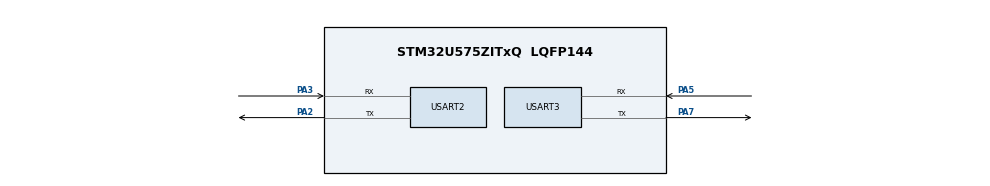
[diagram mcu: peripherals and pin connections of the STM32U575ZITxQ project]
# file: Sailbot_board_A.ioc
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CORTEX_M33_NS.userName=CORTEX_M33
Mcu.Family=STM32U5
Mcu.Name=STM32U575ZITxQ
Mcu.Package=LQFP144
NUCLEO-U575ZI-Q.BUTTON=1
NUCLEO-U575ZI-Q.LD1=true
NUCLEO-U575ZI-Q.LD2=true
NUCLEO-U575ZI-Q.LD3=true
NUCLEO-U575ZI-Q.VCP=true
NVIC.EXTI13_IRQn=true\:0\:0\:false\:false\:true\:false\:true\:true
NVIC.PriorityGroup=NVIC_PRIORITYGROUP_3
NVIC.TIM17_IRQn=true\:7\:0\:false\:false\:true\:false\:true\:true
NVIC.TimeBase=TIM17_IRQn
NVIC.TimeBaseIP=TIM17
NVIC.USART2_IRQn=true\:0\:0\:false\:false\:true\:true\:true\:true
NVIC.USART3_IRQn=true\:0\:0\:false\:false\:true\:true\:true\:true
PA10.Signal=USART1_RX
PA13\ (JTMS/SWDIO).Signal=DEBUG_JTMS-SWDIO
PA14\ (JTCK/SWCLK).Signal=DEBUG_JTCK-SWCLK
PA2.Mode=Asynchronous
PA2.Signal=USART2_TX
PA3.Mode=Asynchronous
PA3.Signal=USART2_RX
PA5.Mode=Asynchronous
PA5.Signal=USART3_RX
PA7.Mode=Asynchronous
PA7.Signal=USART3_TX
PA9.Signal=USART1_TX
PB3\ (JTDO/TRACESWO).Signal=DEBUG_JTDO-SWO
PC14-OSC32_IN\ (PC14).Signal=RCC_OSC32_IN
PC15-OSC32_OUT\ (PC15).Signal=RCC_OSC32_OUT
PWR.PowerMode=PWR_SMPS_SUPPLY
ProjectManager.HeapSize=0x200
ProjectManager.StackSize=0x400
ProjectManager.TargetToolchain=STM32CubeIDE
RCC.ADCFreq_Value=16000000
RCC.DACCLockSelectionVirtual=RCC_DAC1CLKSOURCE_LSI
RCC.EPOD_VALUE=4000000
RCC.HSE_VALUE=16000000
RCC.HSI48_VALUE=48000000
RCC.HSI_VALUE=16000000
RCC.LSE_VALUE=32768
RCC.LSIDIV_VALUE=32000
RCC.MSI_VALUE=4000000
RCC.USBFreq_Value=48000000
RCC.VCOOutputFreq_Value=516000000
USART2.VirtualMode-Asynchronous=VM_ASYNC
USART3.VirtualMode-Asynchronous=VM_ASYNC
VP_ICACHE_VS_ENABLE_ICACHE_MEMORY.Mode=Memoryregions
VP_ICACHE_VS_ICACHE.Mode=DirectMappedCache
VP_LPBAMQUEUE_VS_QUEUE.Mode=QUEUEMODE
VP_LPBAM_VS_SIG1.Mode=SmartRun
VP_LPBAM_VS_SIG4.Mode=LPDMA1
VP_MEMORYMAP_VS_MEMORYMAP.Mode=CurAppReg
VP_NUCLEO-U575ZI-Q_VS_BSP_COMMON.Mode=COMMON
VP_PWR_VS_DBSignals.Mode=DisableDeadBatterySignals
VP_PWR_VS_LPOM.Mode=PowerOptimisation
VP_PWR_VS_SECSignals.Mode=Security/Privilege
VP_SYS_VS_tim17.Mode=TIM17
board=NUCLEO-U575ZI-Q

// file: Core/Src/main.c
/* USER CODE BEGIN Header */
/**
  ******************************************************************************
  * @file           : main.c
  * @brief          : Main program body
  ******************************************************************************
  * @attention
  *
  * Copyright (c) 2026 STMicroelectronics.
  * All rights reserved.
  *
  * This software is licensed under terms that can be found in the LICENSE file
  * in the root directory of this software component.
  * If no LICENSE file comes with this software, it is provided AS-IS.
  *
  ******************************************************************************
  */
/* USER CODE END Header */
#include "main.h"

COM_InitTypeDef BspCOMInit;
//Contact with board 2
UART_HandleTypeDef huart2;
//contact with board 3
UART_HandleTypeDef huart3;

/* USER CODE BEGIN PV */

uint8_t rx_2;
uint8_t rx_3;
uint8_t pc_rx;

volatile uint32_t uart2_count;
volatile uint32_t uart3_count;

volatile uint8_t uart2_last;
volatile uint8_t uart3_last;
//Waiting till I recieve
volatile uint8_t rx2_ready = 0;
volatile uint8_t rx3_ready = 0;

/* USER CODE END PV */

void SystemClock_Config(void);
static void SystemPower_Config(void);
static void MX_GPIO_Init(void);
static void MX_ICACHE_Init(void);
static void MX_USART2_UART_Init(void);
static void MX_USART3_UART_Init(void);

int main(void)
{

  /* MCU Configuration--------------------------------------------------------*/

  /* Reset of all peripherals, Initializes the Flash interface and the Systick. */
  HAL_Init();

  /* Configure the System Power */
  SystemPower_Config();

  /* Configure the system clock */
  SystemClock_Config();

  /* Initialize all configured peripherals */
  MX_GPIO_Init();
  MX_ICACHE_Init();
  MX_USART2_UART_Init();
  MX_USART3_UART_Init();
  /* USER CODE BEGIN 2 */
//Waits to recieve a message from either of the boards
  HAL_UART_Receive_IT(&huart2, &rx_2, 1);
  HAL_UART_Receive_IT(&huart3, &rx_3, 1);

  /* USER CODE END 2 */

  /* Initialize leds */
  BSP_LED_Init(LED_GREEN);
  BSP_LED_Init(LED_BLUE);
  BSP_LED_Init(LED_RED);

  /* Initialize USER push-button, will be used to trigger an interrupt each time it's pressed.*/
  BSP_PB_Init(BUTTON_USER, BUTTON_MODE_EXTI);

  /* Initialize COM1 port (115200, 8 bits (7-bit data + 1 stop bit), no parity */
  BspCOMInit.BaudRate   = 115200;
  BspCOMInit.WordLength = COM_WORDLENGTH_8B;
  BspCOMInit.StopBits   = COM_STOPBITS_1;
  BspCOMInit.Parity     = COM_PARITY_NONE;
  BspCOMInit.HwFlowCtl  = COM_HWCONTROL_NONE;
  if (BSP_COM_Init(COM1, &BspCOMInit) != BSP_ERROR_NONE)
  {
    Error_Handler();
  }

  /* Infinite loop */
  while (1)
  {
    /* USER CODE BEGIN 3 */
	 if(rx2_ready)
	 {
		  rx2_ready = 0;
		  uint8_t data = uart2_last;

		  HAL_UART_Transmit(&hcom_uart[COM1], &data, 1, 100);
	 }

	 if(rx3_ready)
	 {
		  rx2_ready = 0;
		  uint8_t data = uart3_last;

		  HAL_UART_Transmit(&hcom_uart[COM1], &data, 1, 100);
	 }

  }
  /* USER CODE END 3 */
}

void SystemClock_Config(void)
{
  RCC_OscInitTypeDef RCC_OscInitStruct = {0};
  RCC_ClkInitTypeDef RCC_ClkInitStruct = {0};

  /** Configure the main internal regulator output voltage
  */
  if (HAL_PWREx_ControlVoltageScaling(PWR_REGULATOR_VOLTAGE_SCALE4) != HAL_OK)
  {
    Error_Handler();
  }

  /** Initializes the CPU, AHB and APB buses clocks
  */
  RCC_OscInitStruct.OscillatorType = RCC_OSCILLATORTYPE_MSI;
  RCC_OscInitStruct.MSIState = RCC_MSI_ON;
  RCC_OscInitStruct.MSICalibrationValue = RCC_MSICALIBRATION_DEFAULT;
  RCC_OscInitStruct.MSIClockRange = RCC_MSIRANGE_4;
  RCC_OscInitStruct.PLL.PLLState = RCC_PLL_NONE;
  if (HAL_RCC_OscConfig(&RCC_OscInitStruct) != HAL_OK)
  {
    Error_Handler();
  }

  /** Initializes the CPU, AHB and APB buses clocks
  */
  RCC_ClkInitStruct.ClockType = RCC_CLOCKTYPE_HCLK|RCC_CLOCKTYPE_SYSCLK
                              |RCC_CLOCKTYPE_PCLK1|RCC_CLOCKTYPE_PCLK2
                              |RCC_CLOCKTYPE_PCLK3;
  RCC_ClkInitStruct.SYSCLKSource = RCC_SYSCLKSOURCE_MSI;
  RCC_ClkInitStruct.AHBCLKDivider = RCC_SYSCLK_DIV1;
  RCC_ClkInitStruct.APB1CLKDivider = RCC_HCLK_DIV1;
  RCC_ClkInitStruct.APB2CLKDivider = RCC_HCLK_DIV1;
  RCC_ClkInitStruct.APB3CLKDivider = RCC_HCLK_DIV1;

  if (HAL_RCC_ClockConfig(&RCC_ClkInitStruct, FLASH_LATENCY_0) != HAL_OK)
  {
    Error_Handler();
  }
}

/**
  * @brief Power Configuration
  * @retval None
  */
static void SystemPower_Config(void)
{

  /*
   * Disable the internal Pull-Up in Dead Battery pins of UCPD peripheral
   */
  HAL_PWREx_DisableUCPDDeadBattery();

  /*
   * Switch to SMPS regulator instead of LDO
   */
  if (HAL_PWREx_ConfigSupply(PWR_SMPS_SUPPLY) != HAL_OK)
  {
    Error_Handler();
  }
}

static void MX_ICACHE_Init(void)
{

  /** Enable instruction cache in 1-way (direct mapped cache)
  */
  if (HAL_ICACHE_ConfigAssociativityMode(ICACHE_1WAY) != HAL_OK)
  {
    Error_Handler();
  }
  if (HAL_ICACHE_Enable() != HAL_OK)
  {
    Error_Handler();
  }

}

static void MX_USART2_UART_Init(void)
{

  huart2.Instance = USART2;
  huart2.Init.BaudRate = 115200;
  huart2.Init.WordLength = UART_WORDLENGTH_8B;
  huart2.Init.StopBits = UART_STOPBITS_1;
  huart2.Init.Parity = UART_PARITY_NONE;
  huart2.Init.Mode = UART_MODE_TX_RX;
  huart2.Init.HwFlowCtl = UART_HWCONTROL_NONE;
  huart2.Init.OverSampling = UART_OVERSAMPLING_16;
  huart2.Init.OneBitSampling = UART_ONE_BIT_SAMPLE_DISABLE;
  huart2.Init.ClockPrescaler = UART_PRESCALER_DIV1;
  huart2.AdvancedInit.AdvFeatureInit = UART_ADVFEATURE_NO_INIT;
  if (HAL_UART_Init(&huart2) != HAL_OK)
  {
    Error_Handler();
  }
  if (HAL_UARTEx_SetTxFifoThreshold(&huart2, UART_TXFIFO_THRESHOLD_1_8) != HAL_OK)
  {
    Error_Handler();
  }
  if (HAL_UARTEx_SetRxFifoThreshold(&huart2, UART_RXFIFO_THRESHOLD_1_8) != HAL_OK)
  {
    Error_Handler();
  }
  if (HAL_UARTEx_DisableFifoMode(&huart2) != HAL_OK)
  {
    Error_Handler();
  }

}

static void MX_USART3_UART_Init(void)
{

  huart3.Instance = USART3;
  huart3.Init.BaudRate = 115200;
  huart3.Init.WordLength = UART_WORDLENGTH_8B;
  huart3.Init.StopBits = UART_STOPBITS_1;
  huart3.Init.Parity = UART_PARITY_NONE;
  huart3.Init.Mode = UART_MODE_TX_RX;
  huart3.Init.HwFlowCtl = UART_HWCONTROL_NONE;
  huart3.Init.OverSampling = UART_OVERSAMPLING_16;
  huart3.Init.OneBitSampling = UART_ONE_BIT_SAMPLE_DISABLE;
  huart3.Init.ClockPrescaler = UART_PRESCALER_DIV1;
  huart3.AdvancedInit.AdvFeatureInit = UART_ADVFEATURE_NO_INIT;
  if (HAL_UART_Init(&huart3) != HAL_OK)
  {
    Error_Handler();
  }
  if (HAL_UARTEx_SetTxFifoThreshold(&huart3, UART_TXFIFO_THRESHOLD_1_8) != HAL_OK)
  {
    Error_Handler();
  }
  if (HAL_UARTEx_SetRxFifoThreshold(&huart3, UART_RXFIFO_THRESHOLD_1_8) != HAL_OK)
  {
    Error_Handler();
  }
  if (HAL_UARTEx_DisableFifoMode(&huart3) != HAL_OK)
  {
    Error_Handler();
  }

}

static void MX_GPIO_Init(void)
{

  /* GPIO Ports Clock Enable */
  __HAL_RCC_GPIOC_CLK_ENABLE();
  __HAL_RCC_GPIOA_CLK_ENABLE();
  __HAL_RCC_GPIOB_CLK_ENABLE();

}

/* USER CODE BEGIN 4 */
//Preety much continuaslly recieving single bytes/letters
void HAL_UART_RxCpltCallback(UART_HandleTypeDef *huart)
{
	if (huart->Instance == USART2)
	{
		uart2_last = rx_2;
		uart2_count++;
		rx2_ready = 1;

		HAL_UART_Receive_IT(&huart2, &rx_2, 1);
	}
	else if(huart->Instance == USART3)
	{
		uart3_last = rx_3;
		uart3_count++;
		rx3_ready = 1;

		HAL_UART_Receive_IT(&huart3, &rx_3, 1);
	}

}
/* USER CODE END 4 */

void HAL_TIM_PeriodElapsedCallback(TIM_HandleTypeDef *htim)
{
  if (htim->Instance == TIM17)
  {
    HAL_IncTick();
  }
}

void Error_Handler(void)
{
  __disable_irq();
  while (1)
  {
  }
}
